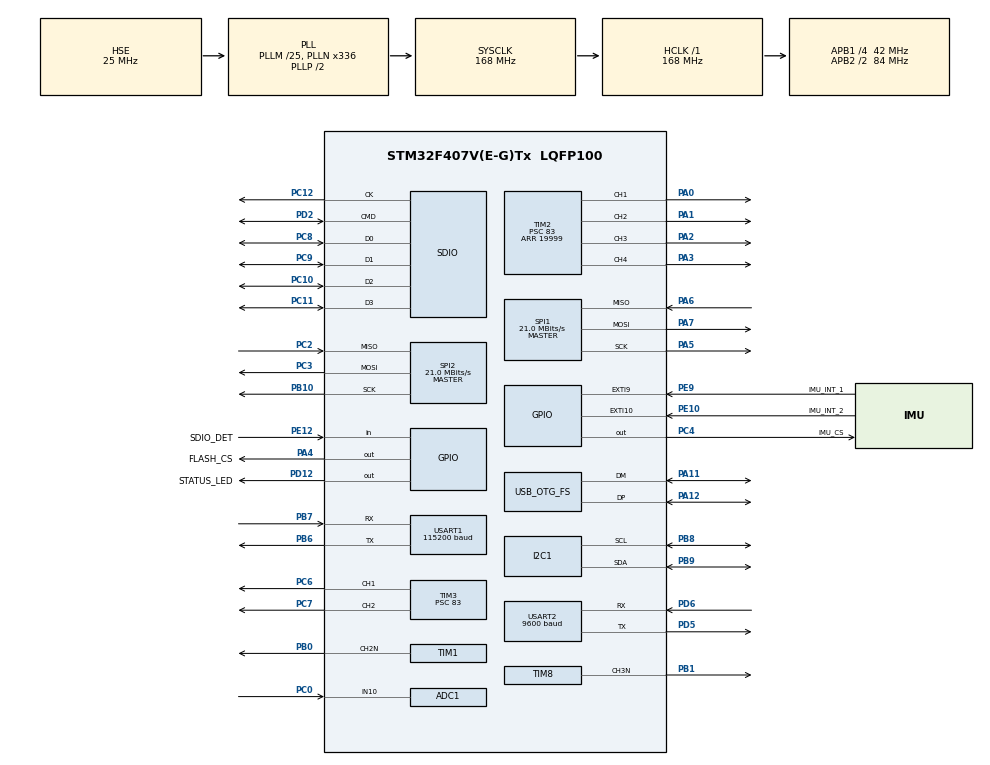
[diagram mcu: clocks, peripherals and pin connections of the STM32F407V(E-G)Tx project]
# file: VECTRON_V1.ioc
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ADC1.Channel-0\#ChannelRegularConversion=ADC_CHANNEL_10
ADC1.NbrOfConversion=1
ADC1.NbrOfConversionFlag=1
ADC1.Rank-0\#ChannelRegularConversion=1
ADC1.SamplingTime-0\#ChannelRegularConversion=ADC_SAMPLETIME_480CYCLES
ADC1.master=1
Dma.ADC1.6.Direction=DMA_PERIPH_TO_MEMORY
Dma.ADC1.6.FIFOMode=DMA_FIFOMODE_DISABLE
Dma.ADC1.6.Instance=DMA2_Stream0
Dma.ADC1.6.MemDataAlignment=DMA_MDATAALIGN_HALFWORD
Dma.ADC1.6.MemInc=DMA_MINC_ENABLE
Dma.ADC1.6.Mode=DMA_NORMAL
Dma.ADC1.6.PeriphDataAlignment=DMA_PDATAALIGN_HALFWORD
Dma.ADC1.6.PeriphInc=DMA_PINC_DISABLE
Dma.ADC1.6.Priority=DMA_PRIORITY_LOW
Dma.I2C1_RX.0.Direction=DMA_PERIPH_TO_MEMORY
Dma.I2C1_RX.0.FIFOMode=DMA_FIFOMODE_DISABLE
Dma.I2C1_RX.0.Instance=DMA1_Stream0
Dma.I2C1_RX.0.MemDataAlignment=DMA_MDATAALIGN_BYTE
Dma.I2C1_RX.0.MemInc=DMA_MINC_ENABLE
Dma.I2C1_RX.0.Mode=DMA_NORMAL
Dma.I2C1_RX.0.PeriphDataAlignment=DMA_PDATAALIGN_BYTE
Dma.I2C1_RX.0.PeriphInc=DMA_PINC_DISABLE
Dma.I2C1_RX.0.Priority=DMA_PRIORITY_LOW
Dma.I2C1_TX.1.Direction=DMA_MEMORY_TO_PERIPH
Dma.I2C1_TX.1.FIFOMode=DMA_FIFOMODE_DISABLE
Dma.I2C1_TX.1.Instance=DMA1_Stream6
Dma.I2C1_TX.1.MemDataAlignment=DMA_MDATAALIGN_BYTE
Dma.I2C1_TX.1.MemInc=DMA_MINC_ENABLE
Dma.I2C1_TX.1.Mode=DMA_NORMAL
Dma.I2C1_TX.1.PeriphDataAlignment=DMA_PDATAALIGN_BYTE
Dma.I2C1_TX.1.PeriphInc=DMA_PINC_DISABLE
Dma.I2C1_TX.1.Priority=DMA_PRIORITY_LOW
Dma.Request0=I2C1_RX
Dma.Request1=I2C1_TX
Dma.Request2=USART2_RX
Dma.Request3=SPI1_RX
Dma.Request4=SPI1_TX
Dma.Request5=TIM8_CH3
Dma.Request6=ADC1
Dma.SPI1_RX.3.Direction=DMA_PERIPH_TO_MEMORY
Dma.SPI1_RX.3.FIFOMode=DMA_FIFOMODE_DISABLE
Dma.SPI1_RX.3.Instance=DMA2_Stream2
Dma.SPI1_RX.3.MemDataAlignment=DMA_MDATAALIGN_BYTE
Dma.SPI1_RX.3.MemInc=DMA_MINC_ENABLE
Dma.SPI1_RX.3.Mode=DMA_NORMAL
Dma.SPI1_RX.3.PeriphDataAlignment=DMA_PDATAALIGN_BYTE
Dma.SPI1_RX.3.PeriphInc=DMA_PINC_DISABLE
Dma.SPI1_RX.3.Priority=DMA_PRIORITY_VERY_HIGH
Dma.SPI1_TX.4.Direction=DMA_MEMORY_TO_PERIPH
Dma.SPI1_TX.4.FIFOMode=DMA_FIFOMODE_DISABLE
Dma.SPI1_TX.4.Instance=DMA2_Stream3
Dma.SPI1_TX.4.MemDataAlignment=DMA_MDATAALIGN_BYTE
Dma.SPI1_TX.4.MemInc=DMA_MINC_ENABLE
Dma.SPI1_TX.4.Mode=DMA_NORMAL
Dma.SPI1_TX.4.PeriphDataAlignment=DMA_PDATAALIGN_BYTE
Dma.SPI1_TX.4.PeriphInc=DMA_PINC_DISABLE
Dma.SPI1_TX.4.Priority=DMA_PRIORITY_VERY_HIGH
Dma.TIM8_CH3.5.Direction=DMA_MEMORY_TO_PERIPH
Dma.TIM8_CH3.5.FIFOMode=DMA_FIFOMODE_DISABLE
Dma.TIM8_CH3.5.Instance=DMA2_Stream4
Dma.TIM8_CH3.5.MemDataAlignment=DMA_MDATAALIGN_HALFWORD
Dma.TIM8_CH3.5.MemInc=DMA_MINC_ENABLE
Dma.TIM8_CH3.5.Mode=DMA_NORMAL
Dma.TIM8_CH3.5.PeriphDataAlignment=DMA_PDATAALIGN_HALFWORD
Dma.TIM8_CH3.5.PeriphInc=DMA_PINC_DISABLE
Dma.TIM8_CH3.5.Priority=DMA_PRIORITY_LOW
Dma.USART2_RX.2.Direction=DMA_PERIPH_TO_MEMORY
Dma.USART2_RX.2.FIFOMode=DMA_FIFOMODE_DISABLE
Dma.USART2_RX.2.Instance=DMA1_Stream5
Dma.USART2_RX.2.MemDataAlignment=DMA_MDATAALIGN_BYTE
Dma.USART2_RX.2.MemInc=DMA_MINC_ENABLE
Dma.USART2_RX.2.Mode=DMA_NORMAL
Dma.USART2_RX.2.PeriphDataAlignment=DMA_PDATAALIGN_BYTE
Dma.USART2_RX.2.PeriphInc=DMA_PINC_DISABLE
Dma.USART2_RX.2.Priority=DMA_PRIORITY_LOW
FATFS.BSP.number=1
FATFS._MAX_SS=4096
FATFS._USE_LFN=3
FATFS0.BSP.STBoard=false
FATFS0.BSP.api=Unknown
FATFS0.BSP.instance=PE12
FATFS0.BSP.ip=GPIO
FATFS0.BSP.mode=Input
FATFS0.BSP.name=Detect_SDIO
FATFS0.BSP.solution=PE12
I2C1.I2C_Mode=I2C_Standard
Mcu.Family=STM32F4
Mcu.Name=STM32F407V(E-G)Tx
Mcu.Package=LQFP100
NVIC.DMA1_Stream0_IRQn=true\:0\:0\:false\:false\:true\:false\:true\:true
NVIC.DMA1_Stream5_IRQn=true\:0\:0\:false\:false\:true\:false\:true\:true
NVIC.DMA1_Stream6_IRQn=true\:0\:0\:false\:false\:true\:false\:true\:true
NVIC.DMA2_Stream0_IRQn=true\:0\:0\:false\:false\:true\:false\:true\:true
NVIC.DMA2_Stream2_IRQn=true\:0\:0\:false\:false\:true\:false\:true\:true
NVIC.DMA2_Stream3_IRQn=true\:0\:0\:false\:false\:true\:false\:true\:true
NVIC.DMA2_Stream4_IRQn=true\:0\:0\:false\:false\:true\:false\:true\:true
NVIC.EXTI9_5_IRQn=true\:0\:0\:false\:false\:true\:true\:true\:true
NVIC.OTG_FS_IRQn=true\:0\:0\:false\:false\:true\:false\:true\:true
NVIC.PriorityGroup=NVIC_PRIORITYGROUP_4
NVIC.TIM5_IRQn=true\:0\:0\:false\:false\:true\:true\:true\:true
NVIC.USART2_IRQn=true\:0\:0\:false\:false\:true\:true\:true\:true
PA0-WKUP.GPIO_Speed=GPIO_SPEED_FREQ_LOW
PA0-WKUP.Signal=S_TIM2_CH1_ETR
PA1.GPIO_Speed=GPIO_SPEED_FREQ_LOW
PA1.Signal=S_TIM2_CH2
PA11.Mode=Device_Only
PA11.Signal=USB_OTG_FS_DM
PA12.Mode=Device_Only
PA12.Signal=USB_OTG_FS_DP
PA13.Mode=Trace_Asynchronous_SW
PA13.Signal=SYS_JTMS-SWDIO
PA14.Mode=Trace_Asynchronous_SW
PA14.Signal=SYS_JTCK-SWCLK
PA2.GPIO_Speed=GPIO_SPEED_FREQ_LOW
PA2.Signal=S_TIM2_CH3
PA3.GPIO_Speed=GPIO_SPEED_FREQ_LOW
PA3.Signal=S_TIM2_CH4
PA4.GPIO_Label=FLASH_CS
PA4.Signal=GPIO_Output
PA5.Mode=Full_Duplex_Master
PA5.Signal=SPI1_SCK
PA6.Mode=Full_Duplex_Master
PA6.Signal=SPI1_MISO
PA7.Mode=Full_Duplex_Master
PA7.Signal=SPI1_MOSI
PB0.Mode=Output Compare2 CH2N
PB0.Signal=TIM1_CH2N
PB1.Mode=PWM Generation3 CH3N
PB1.Signal=TIM8_CH3N
PB10.Mode=Full_Duplex_Master
PB10.Signal=SPI2_SCK
PB3.Mode=Trace_Asynchronous_SW
PB3.Signal=SYS_JTDO-SWO
PB6.Mode=Asynchronous
PB6.Signal=USART1_TX
PB7.Mode=Asynchronous
PB7.Signal=USART1_RX
PB8.Mode=I2C
PB8.Signal=I2C1_SCL
PB9.Mode=I2C
PB9.Signal=I2C1_SDA
PC0.Signal=ADCx_IN10
PC10.Mode=SD_4_bits_Wide_bus
PC10.Signal=SDIO_D2
PC11.Mode=SD_4_bits_Wide_bus
PC11.Signal=SDIO_D3
PC12.Mode=SD_4_bits_Wide_bus
PC12.Signal=SDIO_CK
PC14-OSC32_IN.Mode=LSE-External-Oscillator
PC14-OSC32_IN.Signal=RCC_OSC32_IN
PC15-OSC32_OUT.Mode=LSE-External-Oscillator
PC15-OSC32_OUT.Signal=RCC_OSC32_OUT
PC2.Mode=Full_Duplex_Master
PC2.Signal=SPI2_MISO
PC3.Mode=Full_Duplex_Master
PC3.Signal=SPI2_MOSI
PC4.GPIO_Label=IMU_CS
PC4.Signal=GPIO_Output
PC6.Signal=S_TIM3_CH1
PC7.Signal=S_TIM3_CH2
PC8.Mode=SD_4_bits_Wide_bus
PC8.Signal=SDIO_D0
PC9.Mode=SD_4_bits_Wide_bus
PC9.Signal=SDIO_D1
PD12.GPIO_Label=STATUS_LED
PD12.Signal=GPIO_Output
PD2.Mode=SD_4_bits_Wide_bus
PD2.Signal=SDIO_CMD
PD5.Mode=Asynchronous
PD5.Signal=USART2_TX
PD6.Mode=Asynchronous
PD6.Signal=USART2_RX
PE10.GPIO_Label=IMU_INT_2
PE10.Signal=GPXTI10
PE12.GPIO_Label=SDIO_DET
PE12.Signal=GPIO_Input
PE9.GPIO_Label=IMU_INT_1
PE9.GPIO_ModeDefaultEXTI=GPIO_MODE_IT_FALLING
PE9.GPIO_PuPd=GPIO_NOPULL
PE9.Signal=GPXTI9
PH0-OSC_IN.Mode=HSE-External-Oscillator
PH0-OSC_IN.Signal=RCC_OSC_IN
PH1-OSC_OUT.Mode=HSE-External-Oscillator
PH1-OSC_OUT.Signal=RCC_OSC_OUT
ProjectManager.HeapSize=0x200
ProjectManager.StackSize=0x400
ProjectManager.TargetToolchain=STM32CubeIDE
RCC.48MHZClocksFreq_Value=48000000
RCC.AHBFreq_Value=168000000
RCC.APB1CLKDivider=RCC_HCLK_DIV4
RCC.APB1Freq_Value=42000000
RCC.APB1TimFreq_Value=84000000
RCC.APB2CLKDivider=RCC_HCLK_DIV2
RCC.APB2Freq_Value=84000000
RCC.APB2TimFreq_Value=168000000
RCC.CortexFreq_Value=168000000
RCC.HCLKFreq_Value=168000000
RCC.HSE_VALUE=25000000
RCC.HSI_VALUE=16000000
RCC.PLLM=25
RCC.PLLN=336
RCC.PLLQ=7
RCC.SYSCLKFreq_VALUE=168000000
RCC.SYSCLKSource=RCC_SYSCLKSOURCE_PLLCLK
RCC.VCOOutputFreq_Value=336000000
SDIO.ClockDiv=8
SH.ADCx_IN10.0=ADC1_IN10,IN10
SH.S_TIM2_CH1_ETR.0=TIM2_CH1,PWM Generation1 CH1
SH.S_TIM2_CH2.0=TIM2_CH2,PWM Generation2 CH2
SH.S_TIM2_CH3.0=TIM2_CH3,PWM Generation3 CH3
SH.S_TIM2_CH4.0=TIM2_CH4,PWM Generation4 CH4
SH.S_TIM3_CH1.0=TIM3_CH1,PWM Generation1 CH1
SH.S_TIM3_CH2.0=TIM3_CH2,PWM Generation2 CH2
SPI1.BaudRatePrescaler=SPI_BAUDRATEPRESCALER_4
SPI1.CalculateBaudRate=21.0 MBits/s
SPI1.Direction=SPI_DIRECTION_2LINES
SPI1.Mode=SPI_MODE_MASTER
SPI1.VirtualType=VM_MASTER
SPI2.CalculateBaudRate=21.0 MBits/s
SPI2.Direction=SPI_DIRECTION_2LINES
SPI2.Mode=SPI_MODE_MASTER
SPI2.VirtualType=VM_MASTER
TIM1.AutoReloadPreload=TIM_AUTORELOAD_PRELOAD_DISABLE
TIM1.Channel-Output\ Compare2\ CH2N=TIM_CHANNEL_2
TIM1.OC2Preload=ENABLE
TIM1.OCMode_2=TIM_OCMODE_TOGGLE
TIM1.OCNPolarity_2=TIM_OCNPOLARITY_HIGH
TIM1.Prescaler=83
TIM2.Channel-PWM\ Generation1\ CH1=TIM_CHANNEL_1
TIM2.Channel-PWM\ Generation2\ CH2=TIM_CHANNEL_2
TIM2.Channel-PWM\ Generation3\ CH3=TIM_CHANNEL_3
TIM2.Channel-PWM\ Generation4\ CH4=TIM_CHANNEL_4
TIM2.OCFastMode_PWM-PWM\ Generation3\ CH3=TIM_OCFAST_DISABLE
TIM2.Period=19999
TIM2.Prescaler=83
TIM3.Channel-PWM\ Generation1\ CH1=TIM_CHANNEL_1
TIM3.Channel-PWM\ Generation2\ CH2=TIM_CHANNEL_2
TIM3.Period=19999
TIM3.Prescaler=83
TIM5.Period=2499
TIM5.Prescaler=8399
TIM8.Channel-PWM\ Generation3\ CH3N=TIM_CHANNEL_3
TIM8.OCNPolarity_3=TIM_OCNPOLARITY_LOW
TIM8.Period=104
TIM8.Prescaler=1
USART1.BaudRate=115200
USART1.VirtualMode=VM_ASYNC
USART2.BaudRate=9600
USART2.VirtualMode=VM_ASYNC
USB_DEVICE.CLASS_NAME_FS=CDC
USB_DEVICE.VirtualMode-CDC_FS=Cdc
USB_DEVICE.VirtualModeFS=Cdc_FS
USB_OTG_FS.VirtualMode=Device_Only
VP_FATFS_VS_SDIO.Mode=SDIO
VP_TIM1_VS_ClockSourceINT.Mode=Internal
VP_TIM2_VS_ClockSourceINT.Mode=Internal
VP_TIM3_VS_ClockSourceINT.Mode=Internal
VP_TIM5_VS_ClockSourceINT.Mode=Internal
VP_TIM8_VS_ClockSourceINT.Mode=Internal
VP_USB_DEVICE_VS_USB_DEVICE_CDC_FS.Mode=CDC_FS
board=custom

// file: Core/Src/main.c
/* USER CODE BEGIN Header */
/**
 ******************************************************************************
 * @file           : main.c
 * @brief          : Main program body
 ******************************************************************************
 * @attention
 *
 * Copyright (c) 2025 STMicroelectronics.
 * All rights reserved.
 *
 * This software is licensed under terms that can be found in the LICENSE file
 * in the root directory of this software component.
 * If no LICENSE file comes with this software, it is provided AS-IS.
 *
 ******************************************************************************
 */
/* USER CODE END Header */
#include "main.h"
#include "fatfs.h"
#include "usb_device.h"

/* USER CODE BEGIN Includes */
#include "usbd_cdc_if.h"

#include <stdio.h>
#include <stdbool.h>
#include <string.h>

#include "FLIGHT.h"

#include "drivers/ISM330DHCX/ISM330DHCX.h"
#include "drivers/BMP280/BMP280.h"
#include "drivers/LIS2MDL/LIS2MDL.h"
#include "drivers/NEO6M/NEO6M.h"
#include "drivers/ADC/ADC.h"

#include "drivers/SERVO/SERVO.h"
#include "drivers/BUZZER/BUZZER.h"
#include "drivers/WS2812/WS2812.h"

#include "drivers/W25Q128JV/W25Q128JV.h"
#include "drivers/MICROSD/MICROSD.h"

#include "drivers/DEBUGGING/DEBUGGING.h"

#include "drivers/KALMAN/KALMAN.h"

/* USER CODE END Includes */

ADC_HandleTypeDef hadc1;
DMA_HandleTypeDef hdma_adc1;

I2C_HandleTypeDef hi2c1;
DMA_HandleTypeDef hdma_i2c1_rx;
DMA_HandleTypeDef hdma_i2c1_tx;

SD_HandleTypeDef hsd;

SPI_HandleTypeDef hspi1;
SPI_HandleTypeDef hspi2;
DMA_HandleTypeDef hdma_spi1_rx;
DMA_HandleTypeDef hdma_spi1_tx;

TIM_HandleTypeDef htim1;
TIM_HandleTypeDef htim2;
TIM_HandleTypeDef htim3;
TIM_HandleTypeDef htim5;
TIM_HandleTypeDef htim8;
DMA_HandleTypeDef hdma_tim8_ch3;

UART_HandleTypeDef huart1;
UART_HandleTypeDef huart2;
DMA_HandleTypeDef hdma_usart2_rx;

/* USER CODE BEGIN PV */
uint8_t estimationTimes = 0;
uint8_t estimationFlag = 0;

FlightDataHandler_t FlightData;

typedef enum
{
    STATE_READING_BMP,
    STATE_READING_LIS
} I2CSequenceState_t;

volatile I2CSequenceState_t I2CdmaState = STATE_READING_BMP;

ISM330DHCX_Handle_t ISM330DHCX_Handler;
BMP280_Handle_t BMP280_Handler;
LIS2MDL_Handle_t LIS2MDL_Handler;
NEO6M_Handle_t NEO6M_Handler;
ADC_Handle_t ADC_Handler;

Servo_Handle_t servoX1;
Servo_Handle_t servoX2;
Servo_Handle_t servoY1;
Servo_Handle_t servoY2;

Servo_Handle_t servoRecov1;
Servo_Handle_t servoRecov2;

Buzzer_Handle_t Buzzer_Handler;
WS2812_Handle_t WS2812_Handler;

W25Q128JV_Handle_t W25Q128JV_Handler;

KalmanFilterState_t g_kalman_state = {0};

char output[1024];
/* USER CODE END PV */

void SystemClock_Config(void);
static void MX_GPIO_Init(void);
static void MX_DMA_Init(void);
static void MX_ADC1_Init(void);
static void MX_I2C1_Init(void);
static void MX_TIM1_Init(void);
static void MX_TIM2_Init(void);
static void MX_TIM3_Init(void);
static void MX_TIM5_Init(void);
static void MX_USART1_UART_Init(void);
static void MX_USART2_UART_Init(void);
static void MX_SDIO_SD_Init(void);
static void MX_SPI1_Init(void);
static void MX_SPI2_Init(void);
static void MX_TIM8_Init(void);

/* USER CODE BEGIN 0 */

HAL_StatusTypeDef flightComputerInit(FlightDataHandler_t *flight)
{
    // Initialize sensors
    ISM330DHCXInit(&ISM330DHCX_Handler);
    BMP280Init(&BMP280_Handler);
    LIS2MDLInit(&LIS2MDL_Handler);
    NEO6MInit(&NEO6M_Handler);
    ADCInit(&ADC_Handler);
    // Start timer for timestamp
    HAL_TIM_Base_Start_IT(&htim5);

    // Initialize servos
    Servo_Init_LUT();
    ServoInit(&servoX1);
    ServoInit(&servoX2);
    ServoInit(&servoY1);
    ServoInit(&servoY2);
    ServoInit(&servoRecov1);
    ServoInit(&servoRecov2);

    // Initialize other peripherals
    BuzzerInit(&Buzzer_Handler);
    WS2812_Init(&WS2812_Handler);

    //  Initialize data storage elements
    W25Q128JVInit(&W25Q128JV_Handler);
//    W25Q128JVCleanSlate(&W25Q128JV_Handler);

    // Initial sensor readings
    NEO6MReadRaw(&NEO6M_Handler);
    BMP280ReadRaw(&BMP280_Handler);
    ISM330DHCXReadRaw(&ISM330DHCX_Handler);

    // Initialize flight data structure
    flight->start_byte = 0xAA; // Example start byte
    flight->packet_count = 0;
    flight->system_state = 0;
    flight->flight_state = 0;
    flight->error_flags = 0;

    return HAL_OK;
}

HAL_StatusTypeDef flightComputerCopySensors(FlightDataHandler_t *flight)
{
    // Copy timestamp
    flight->timestamp_ms = HAL_GetTick();

    // Copy IMU data (accelerometer)
    flight->accel_x = ISM330DHCX_Handler.accel_g_x;
    flight->accel_y = ISM330DHCX_Handler.accel_g_y;
    flight->accel_z = ISM330DHCX_Handler.accel_g_z;

    // Copy IMU data (gyroscope)
    flight->gyro_x = ISM330DHCX_Handler.gyro_dps_x;
    flight->gyro_y = ISM330DHCX_Handler.gyro_dps_y;
    flight->gyro_z = ISM330DHCX_Handler.gyro_dps_z;

    // Copy IMU temperature
    flight->temp_imu = ISM330DHCX_Handler.temperature;

    // Copy barometer data
    flight->pressure = BMP280_Handler.pressure;
    flight->altitude = BMP280_Handler.altitude;
    flight->temp_baro = BMP280_Handler.temperature;

    // Copy magnetometer/attitude data
    flight->roll = LIS2MDL_Handler.mag_x;
    flight->pitch = LIS2MDL_Handler.mag_y;
    flight->yaw = LIS2MDL_Handler.mag_z;

    // Copy GPS data
    flight->gps_sats = NEO6M_Handler.SatellitesUsed;
    flight->gps_lat = NEO6M_Handler.Latitude;
    flight->gps_lon = NEO6M_Handler.Longitude;
    flight->gps_alt = NEO6M_Handler.Altitude;

    // Copy ADC voltage
    flight->battery_voltage = ADC_Handler.voltage;

    // Copy servo positions
    flight->servoAngleX1 = servoX1.angle;
    flight->servoAngleX2 = servoX2.angle;
    flight->servoAngleY1 = servoY1.angle;
    flight->servoAngleY2 = servoY2.angle;
    flight->servoRecov1 = servoRecov1.angle;
    flight->servoRecov2 = servoRecov2.angle;

    // Increment packet counter
    flight->packet_count++;

    return HAL_OK;
}

HAL_StatusTypeDef flightComputerEstimation(FlightDataHandler_t *flight)
{
    // Initialize Kalman filters on first call
    static bool first_call = true;
    if (first_call)
    {
        Kalman_Init(&g_kalman_state);
        first_call = false;
    }

    // Update altitude and velocity estimation
    Kalman_UpdateAltitude(&g_kalman_state.altitude_filter,
                          flight->altitude,
                          flight->gps_alt,
                          flight->gps_sats,
                          flight->accel_z,
                          flight->timestamp_ms);

    // Update attitude estimation
    Kalman_UpdateAttitude(&g_kalman_state.attitude_filter,
                          flight->roll,
                          flight->pitch,
                          flight->yaw,
                          flight->gyro_x,
                          flight->gyro_y,
                          flight->gyro_z,
                          flight->timestamp_ms);

    // Update temperature estimation
    flight->est_temperature = Kalman_UpdateTemperature(&g_kalman_state.temp_filter,
                                                       flight->temp_imu,
                                                       flight->temp_baro);

    // Copy estimated values to flight data structure
    flight->est_altitude = g_kalman_state.altitude_filter.state[0];
    flight->est_velocity_z = g_kalman_state.altitude_filter.state[1];
    flight->est_roll = g_kalman_state.attitude_filter.state[0];
    flight->est_pitch = g_kalman_state.attitude_filter.state[1];
    flight->est_yaw = g_kalman_state.attitude_filter.state[2];

    return HAL_OK;
}

/* USER CODE END 0 */

int main(void)
{

    /* USER CODE BEGIN 1 */
    ISM330DHCX_Handler.hspi = &hspi1;
    ISM330DHCX_Handler.CSPort = IMU_CS_GPIO_Port;
    ISM330DHCX_Handler.CSPin = IMU_CS_Pin;

    BMP280_Handler.hi2c = &hi2c1;
    BMP280_Handler.address = 0x76;

    LIS2MDL_Handler.hi2c = &hi2c1;

    NEO6M_Handler.huart = &huart2;

    ADC_Handler.hadc = &hadc1;

    servoX1.htim = &htim2;
    servoX1.TIM_CHANNEL = TIM_CHANNEL_1;
    servoX2.htim = &htim2;
    servoX2.TIM_CHANNEL = TIM_CHANNEL_2;
    servoY1.htim = &htim2;
    servoY1.TIM_CHANNEL = TIM_CHANNEL_3;
    servoY2.htim = &htim2;
    servoY2.TIM_CHANNEL = TIM_CHANNEL_4;

    servoRecov1.htim = &htim3;
    servoRecov1.TIM_CHANNEL = TIM_CHANNEL_1;
    servoRecov2.htim = &htim3;
    servoRecov2.TIM_CHANNEL = TIM_CHANNEL_2;

    Buzzer_Handler.htim = &htim1;
    Buzzer_Handler.TIM_CHANNEL = TIM_CHANNEL_2;

    WS2812_Handler.htim = &htim8;
    WS2812_Handler.TIM_CHANNEL = TIM_CHANNEL_3;
    WS2812_Handler.brightness = 255;

    W25Q128JV_Handler.hspi = &hspi2;
    W25Q128JV_Handler.CsPort = FLASH_CS_GPIO_Port;
    W25Q128JV_Handler.CsPin = FLASH_CS_Pin;
    W25Q128JV_Handler.currentOffset = 0;

    /* USER CODE END 1 */

    /* MCU Configuration--------------------------------------------------------*/

    /* Reset of all peripherals, Initializes the Flash interface and the Systick. */
    HAL_Init();

    /* Configure the system clock */
    SystemClock_Config();

    /* Initialize all configured peripherals */
    MX_GPIO_Init();
    MX_DMA_Init();
    MX_ADC1_Init();
    MX_I2C1_Init();
    MX_TIM1_Init();
    MX_TIM2_Init();
    MX_TIM3_Init();
    MX_TIM5_Init();
    MX_USART1_UART_Init();
    MX_USART2_UART_Init();
    MX_SDIO_SD_Init();
    MX_SPI1_Init();
    MX_SPI2_Init();
    MX_FATFS_Init();
    MX_USB_DEVICE_Init();
    MX_TIM8_Init();
    /* USER CODE BEGIN 2 */

    ///////////////////////////////////////////////////////////////////
    // Init function
    flightComputerInit(&FlightData);

    BuzzerPlayNote(&Buzzer_Handler, NOTE_G5);
    HAL_Delay(100);
    BuzzerPlayNote(&Buzzer_Handler, NOTE_B5);
    HAL_Delay(100);
    BuzzerPlayNote(&Buzzer_Handler, NOTE_D6);
    HAL_Delay(100);
    BuzzerPlayNote(&Buzzer_Handler, NOTE_G6);
    HAL_Delay(100);
    BuzzerPlayNote(&Buzzer_Handler, NOTE_B6);
    HAL_Delay(100);
    BuzzerPlayNote(&Buzzer_Handler, NOTE_DS7);
    HAL_Delay(80);
    BuzzerPlayNote(&Buzzer_Handler, NOTE_E7);
    HAL_Delay(400);
    BuzzerPlayNote(&Buzzer_Handler, NOTE_REST);

    /* USER CODE END 2 */

    /* Infinite loop */
    /* USER CODE BEGIN WHILE */
    while (1)
    {
        if (estimationFlag)
        {

            snprintf(output, sizeof(output),
                     "--- Packet: %lu ---\n"
                     "Time: %lu ms | Sys: %u | Flight: %u | Err: 0x%02X\n"
                     "IMU Acc: [%.2f, %.2f, %.2f]\n"
                     "IMU Gyr: [%.2f, %.2f, %.2f]\n"
                     "IMU Temp: %.2f\n"
                     "Baro: P:%.2f Alt:%.2f T:%.2f\n"
                     "Mag (RPY): %.2f, %.2f, %.2f\n"
                     "GPS: Sats:%u Lat:%.7f Lon:%.7f Alt:%.2f\n"
                     "KF Est: Alt:%.2f Vel:%.2f RPY:[%.2f, %.2f, %.2f] T:%.2f\n"
                     "Batt: %.2f V\n"
                     "Servos: X[%u, %u] Y[%u, %u] Rec[%u, %u]\n\n",

                     // Header
                     FlightData.packet_count,
                     FlightData.timestamp_ms,
                     FlightData.system_state,
                     FlightData.flight_state,
                     FlightData.error_flags,

                     // IMU
                     FlightData.accel_x, FlightData.accel_y, FlightData.accel_z,
                     FlightData.gyro_x, FlightData.gyro_y, FlightData.gyro_z,
                     FlightData.temp_imu,

                     // Barometer
                     FlightData.pressure,
                     FlightData.altitude,
                     FlightData.temp_baro,

                     // Magnetometer / Orientation
                     FlightData.roll, FlightData.pitch, FlightData.yaw,

                     // GPS (Notice %.7f for Lat/Lon)
                     FlightData.gps_sats,
                     FlightData.gps_lat,
                     FlightData.gps_lon,
                     FlightData.gps_alt,

                     // Kalman Filter Estimates
                     FlightData.est_altitude,
                     FlightData.est_velocity_z,
                     FlightData.est_roll, FlightData.est_pitch, FlightData.est_yaw,
                     FlightData.est_temperature,

                     // Battery
                     FlightData.battery_voltage,

                     // Servos
                     FlightData.servoAngleX1, FlightData.servoAngleX2,
                     FlightData.servoAngleY1, FlightData.servoAngleY2,
                     FlightData.servoRecov1, FlightData.servoRecov2);

            debugging(output);
            ///////////////////////////////////////////////////////////////////
            //    copying function of flight data form various sensors
            flightComputerCopySensors(&FlightData);

            ///////////////////////////////////////////////////////////////////
            //    estimation function
            flightComputerEstimation(&FlightData);

            switch (FlightData.flight_state)
            {
            case STATE_GROUND_IDLE:
                if (1) //////////////////////////////////////  LOGIC
                {
                    FlightData.flight_state = STATE_POWERED_FLIGHT;
                    break;
                }

                break;
            ///////////////////////////////////////////////////////////////////////////////////////////////
            case STATE_POWERED_FLIGHT:
                if (1) //////////////////////////////////////  LOGIC
                {
                    FlightData.flight_state = STATE_UNPOWERED_FLIGHT;
                    break;
                }

                break;

            ///////////////////////////////////////////////////////////////////////////////////////////////
            case STATE_UNPOWERED_FLIGHT:
                if (1) //////////////////////////////////////  LOGIC
                {
                    FlightData.flight_state = STATE_BALLISTIC_DESCENT;
                    break;
                }
                break;

            ///////////////////////////////////////////////////////////////////////////////////////////////
            case STATE_BALLISTIC_DESCENT:
                if (1) //////////////////////////////////////  LOGIC
                {
                    FlightData.flight_state = STATE_CHUTE_DESCENT;
                    break;
                }
                break;
            ///////////////////////////////////////////////////////////////////////////////////////////////
            case STATE_CHUTE_DESCENT:
                if (1) //////////////////////////////////////  LOGIC
                {
                    FlightData.flight_state = STATE_LANDING_SAFE;
                    break;
                }

                break;
            ///////////////////////////////////////////////////////////////////////////////////////////////
            case STATE_LANDING_SAFE:

                break;
            }

            estimationTimes++;
            W25Q128JVWritePage(&W25Q128JV_Handler, &FlightData);
            if (estimationTimes == 2)
            {
                estimationTimes = 0;
            }

            estimationFlag = 0;
        }
        /* USER CODE END WHILE */

    }
}

void SystemClock_Config(void)
{
    RCC_OscInitTypeDef RCC_OscInitStruct = {0};
    RCC_ClkInitTypeDef RCC_ClkInitStruct = {0};

    /** Configure the main internal regulator output voltage
     */
    __HAL_RCC_PWR_CLK_ENABLE();
    __HAL_PWR_VOLTAGESCALING_CONFIG(PWR_REGULATOR_VOLTAGE_SCALE1);

    /** Initializes the RCC Oscillators according to the specified parameters
     * in the RCC_OscInitTypeDef structure.
     */
    RCC_OscInitStruct.OscillatorType = RCC_OSCILLATORTYPE_HSE;
    RCC_OscInitStruct.HSEState = RCC_HSE_ON;
    RCC_OscInitStruct.PLL.PLLState = RCC_PLL_ON;
    RCC_OscInitStruct.PLL.PLLSource = RCC_PLLSOURCE_HSE;
    RCC_OscInitStruct.PLL.PLLM = 25;
    RCC_OscInitStruct.PLL.PLLN = 336;
    RCC_OscInitStruct.PLL.PLLP = RCC_PLLP_DIV2;
    RCC_OscInitStruct.PLL.PLLQ = 7;
    if (HAL_RCC_OscConfig(&RCC_OscInitStruct) != HAL_OK)
    {
        Error_Handler();
    }

    /** Initializes the CPU, AHB and APB buses clocks
     */
    RCC_ClkInitStruct.ClockType = RCC_CLOCKTYPE_HCLK | RCC_CLOCKTYPE_SYSCLK | RCC_CLOCKTYPE_PCLK1 | RCC_CLOCKTYPE_PCLK2;
    RCC_ClkInitStruct.SYSCLKSource = RCC_SYSCLKSOURCE_PLLCLK;
    RCC_ClkInitStruct.AHBCLKDivider = RCC_SYSCLK_DIV1;
    RCC_ClkInitStruct.APB1CLKDivider = RCC_HCLK_DIV4;
    RCC_ClkInitStruct.APB2CLKDivider = RCC_HCLK_DIV2;

    if (HAL_RCC_ClockConfig(&RCC_ClkInitStruct, FLASH_LATENCY_5) != HAL_OK)
    {
        Error_Handler();
    }
}

static void MX_ADC1_Init(void)
{

    ADC_ChannelConfTypeDef sConfig = {0};

    /** Configure the global features of the ADC (Clock, Resolution, Data Alignment and number of conversion)
     */
    hadc1.Instance = ADC1;
    hadc1.Init.ClockPrescaler = ADC_CLOCK_SYNC_PCLK_DIV4;
    hadc1.Init.Resolution = ADC_RESOLUTION_12B;
    hadc1.Init.ScanConvMode = DISABLE;
    hadc1.Init.ContinuousConvMode = DISABLE;
    hadc1.Init.DiscontinuousConvMode = DISABLE;
    hadc1.Init.ExternalTrigConvEdge = ADC_EXTERNALTRIGCONVEDGE_NONE;
    hadc1.Init.ExternalTrigConv = ADC_SOFTWARE_START;
    hadc1.Init.DataAlign = ADC_DATAALIGN_RIGHT;
    hadc1.Init.NbrOfConversion = 1;
    hadc1.Init.DMAContinuousRequests = DISABLE;
    hadc1.Init.EOCSelection = ADC_EOC_SINGLE_CONV;
    if (HAL_ADC_Init(&hadc1) != HAL_OK)
    {
        Error_Handler();
    }

    /** Configure for the selected ADC regular channel its corresponding rank in the sequencer and its sample time.
     */
    sConfig.Channel = ADC_CHANNEL_10;
    sConfig.Rank = 1;
    sConfig.SamplingTime = ADC_SAMPLETIME_480CYCLES;
    if (HAL_ADC_ConfigChannel(&hadc1, &sConfig) != HAL_OK)
    {
        Error_Handler();
    }
}

static void MX_I2C1_Init(void)
{

    hi2c1.Instance = I2C1;
    hi2c1.Init.ClockSpeed = 100000;
    hi2c1.Init.DutyCycle = I2C_DUTYCYCLE_2;
    hi2c1.Init.OwnAddress1 = 0;
    hi2c1.Init.AddressingMode = I2C_ADDRESSINGMODE_7BIT;
    hi2c1.Init.DualAddressMode = I2C_DUALADDRESS_DISABLE;
    hi2c1.Init.OwnAddress2 = 0;
    hi2c1.Init.GeneralCallMode = I2C_GENERALCALL_DISABLE;
    hi2c1.Init.NoStretchMode = I2C_NOSTRETCH_DISABLE;
    if (HAL_I2C_Init(&hi2c1) != HAL_OK)
    {
        Error_Handler();
    }
}

static void MX_SDIO_SD_Init(void)
{

    hsd.Instance = SDIO;
    hsd.Init.ClockEdge = SDIO_CLOCK_EDGE_RISING;
    hsd.Init.ClockBypass = SDIO_CLOCK_BYPASS_DISABLE;
    hsd.Init.ClockPowerSave = SDIO_CLOCK_POWER_SAVE_DISABLE;
    hsd.Init.BusWide = SDIO_BUS_WIDE_1B;
    hsd.Init.HardwareFlowControl = SDIO_HARDWARE_FLOW_CONTROL_DISABLE;
    hsd.Init.ClockDiv = 8;
}

static void MX_SPI1_Init(void)
{

    /* SPI1 parameter configuration*/
    hspi1.Instance = SPI1;
    hspi1.Init.Mode = SPI_MODE_MASTER;
    hspi1.Init.Direction = SPI_DIRECTION_2LINES;
    hspi1.Init.DataSize = SPI_DATASIZE_8BIT;
    hspi1.Init.CLKPolarity = SPI_POLARITY_LOW;
    hspi1.Init.CLKPhase = SPI_PHASE_1EDGE;
    hspi1.Init.NSS = SPI_NSS_SOFT;
    hspi1.Init.BaudRatePrescaler = SPI_BAUDRATEPRESCALER_4;
    hspi1.Init.FirstBit = SPI_FIRSTBIT_MSB;
    hspi1.Init.TIMode = SPI_TIMODE_DISABLE;
    hspi1.Init.CRCCalculation = SPI_CRCCALCULATION_DISABLE;
    hspi1.Init.CRCPolynomial = 10;
    if (HAL_SPI_Init(&hspi1) != HAL_OK)
    {
        Error_Handler();
    }
}

static void MX_SPI2_Init(void)
{

    /* SPI2 parameter configuration*/
    hspi2.Instance = SPI2;
    hspi2.Init.Mode = SPI_MODE_MASTER;
    hspi2.Init.Direction = SPI_DIRECTION_2LINES;
    hspi2.Init.DataSize = SPI_DATASIZE_8BIT;
    hspi2.Init.CLKPolarity = SPI_POLARITY_LOW;
    hspi2.Init.CLKPhase = SPI_PHASE_1EDGE;
    hspi2.Init.NSS = SPI_NSS_SOFT;
    hspi2.Init.BaudRatePrescaler = SPI_BAUDRATEPRESCALER_2;
    hspi2.Init.FirstBit = SPI_FIRSTBIT_MSB;
    hspi2.Init.TIMode = SPI_TIMODE_DISABLE;
    hspi2.Init.CRCCalculation = SPI_CRCCALCULATION_DISABLE;
    hspi2.Init.CRCPolynomial = 10;
    if (HAL_SPI_Init(&hspi2) != HAL_OK)
    {
        Error_Handler();
    }
}

static void MX_TIM1_Init(void)
{

    TIM_ClockConfigTypeDef sClockSourceConfig = {0};
    TIM_MasterConfigTypeDef sMasterConfig = {0};
    TIM_OC_InitTypeDef sConfigOC = {0};
    TIM_BreakDeadTimeConfigTypeDef sBreakDeadTimeConfig = {0};

    htim1.Instance = TIM1;
    htim1.Init.Prescaler = 83;
    htim1.Init.CounterMode = TIM_COUNTERMODE_UP;
    htim1.Init.Period = 65535;
    htim1.Init.ClockDivision = TIM_CLOCKDIVISION_DIV1;
    htim1.Init.RepetitionCounter = 0;
    htim1.Init.AutoReloadPreload = TIM_AUTORELOAD_PRELOAD_DISABLE;
    if (HAL_TIM_Base_Init(&htim1) != HAL_OK)
    {
        Error_Handler();
    }
    sClockSourceConfig.ClockSource = TIM_CLOCKSOURCE_INTERNAL;
    if (HAL_TIM_ConfigClockSource(&htim1, &sClockSourceConfig) != HAL_OK)
    {
        Error_Handler();
    }
    if (HAL_TIM_OC_Init(&htim1) != HAL_OK)
    {
        Error_Handler();
    }
    sMasterConfig.MasterOutputTrigger = TIM_TRGO_RESET;
    sMasterConfig.MasterSlaveMode = TIM_MASTERSLAVEMODE_DISABLE;
    if (HAL_TIMEx_MasterConfigSynchronization(&htim1, &sMasterConfig) != HAL_OK)
    {
        Error_Handler();
    }
    sConfigOC.OCMode = TIM_OCMODE_TOGGLE;
    sConfigOC.Pulse = 0;
    sConfigOC.OCPolarity = TIM_OCPOLARITY_HIGH;
    sConfigOC.OCNPolarity = TIM_OCNPOLARITY_HIGH;
    sConfigOC.OCFastMode = TIM_OCFAST_DISABLE;
    sConfigOC.OCIdleState = TIM_OCIDLESTATE_RESET;
    sConfigOC.OCNIdleState = TIM_OCNIDLESTATE_RESET;
    if (HAL_TIM_OC_ConfigChannel(&htim1, &sConfigOC, TIM_CHANNEL_2) != HAL_OK)
    {
        Error_Handler();
    }
    __HAL_TIM_ENABLE_OCxPRELOAD(&htim1, TIM_CHANNEL_2);
    sBreakDeadTimeConfig.OffStateRunMode = TIM_OSSR_DISABLE;
    sBreakDeadTimeConfig.OffStateIDLEMode = TIM_OSSI_DISABLE;
    sBreakDeadTimeConfig.LockLevel = TIM_LOCKLEVEL_OFF;
    sBreakDeadTimeConfig.DeadTime = 0;
    sBreakDeadTimeConfig.BreakState = TIM_BREAK_DISABLE;
    sBreakDeadTimeConfig.BreakPolarity = TIM_BREAKPOLARITY_HIGH;
    sBreakDeadTimeConfig.AutomaticOutput = TIM_AUTOMATICOUTPUT_DISABLE;
    if (HAL_TIMEx_ConfigBreakDeadTime(&htim1, &sBreakDeadTimeConfig) != HAL_OK)
    {
        Error_Handler();
    }
    HAL_TIM_MspPostInit(&htim1);
}

static void MX_TIM2_Init(void)
{

    TIM_ClockConfigTypeDef sClockSourceConfig = {0};
    TIM_MasterConfigTypeDef sMasterConfig = {0};
    TIM_OC_InitTypeDef sConfigOC = {0};

    htim2.Instance = TIM2;
    htim2.Init.Prescaler = 83;
    htim2.Init.CounterMode = TIM_COUNTERMODE_UP;
    htim2.Init.Period = 19999;
    htim2.Init.ClockDivision = TIM_CLOCKDIVISION_DIV1;
    htim2.Init.AutoReloadPreload = TIM_AUTORELOAD_PRELOAD_DISABLE;
    if (HAL_TIM_Base_Init(&htim2) != HAL_OK)
    {
        Error_Handler();
    }
    sClockSourceConfig.ClockSource = TIM_CLOCKSOURCE_INTERNAL;
    if (HAL_TIM_ConfigClockSource(&htim2, &sClockSourceConfig) != HAL_OK)
    {
        Error_Handler();
    }
    if (HAL_TIM_PWM_Init(&htim2) != HAL_OK)
    {
        Error_Handler();
    }
    sMasterConfig.MasterOutputTrigger = TIM_TRGO_RESET;
    sMasterConfig.MasterSlaveMode = TIM_MASTERSLAVEMODE_DISABLE;
    if (HAL_TIMEx_MasterConfigSynchronization(&htim2, &sMasterConfig) != HAL_OK)
    {
        Error_Handler();
    }
    sConfigOC.OCMode = TIM_OCMODE_PWM1;
    sConfigOC.Pulse = 0;
    sConfigOC.OCPolarity = TIM_OCPOLARITY_HIGH;
    sConfigOC.OCFastMode = TIM_OCFAST_DISABLE;
    if (HAL_TIM_PWM_ConfigChannel(&htim2, &sConfigOC, TIM_CHANNEL_1) != HAL_OK)
    {
        Error_Handler();
    }
    if (HAL_TIM_PWM_ConfigChannel(&htim2, &sConfigOC, TIM_CHANNEL_2) != HAL_OK)
    {
        Error_Handler();
    }
    if (HAL_TIM_PWM_ConfigChannel(&htim2, &sConfigOC, TIM_CHANNEL_3) != HAL_OK)
    {
        Error_Handler();
    }
    if (HAL_TIM_PWM_ConfigChannel(&htim2, &sConfigOC, TIM_CHANNEL_4) != HAL_OK)
    {
        Error_Handler();
    }
    HAL_TIM_MspPostInit(&htim2);
}

static void MX_TIM3_Init(void)
{

    TIM_ClockConfigTypeDef sClockSourceConfig = {0};
    TIM_MasterConfigTypeDef sMasterConfig = {0};
    TIM_OC_InitTypeDef sConfigOC = {0};

    htim3.Instance = TIM3;
    htim3.Init.Prescaler = 83;
    htim3.Init.CounterMode = TIM_COUNTERMODE_UP;
    htim3.Init.Period = 19999;
    htim3.Init.ClockDivision = TIM_CLOCKDIVISION_DIV1;
    htim3.Init.AutoReloadPreload = TIM_AUTORELOAD_PRELOAD_DISABLE;
    if (HAL_TIM_Base_Init(&htim3) != HAL_OK)
    {
        Error_Handler();
    }
    sClockSourceConfig.ClockSource = TIM_CLOCKSOURCE_INTERNAL;
    if (HAL_TIM_ConfigClockSource(&htim3, &sClockSourceConfig) != HAL_OK)
    {
        Error_Handler();
    }
    if (HAL_TIM_PWM_Init(&htim3) != HAL_OK)
    {
        Error_Handler();
    }
    sMasterConfig.MasterOutputTrigger = TIM_TRGO_RESET;
    sMasterConfig.MasterSlaveMode = TIM_MASTERSLAVEMODE_DISABLE;
    if (HAL_TIMEx_MasterConfigSynchronization(&htim3, &sMasterConfig) != HAL_OK)
    {
        Error_Handler();
    }
    sConfigOC.OCMode = TIM_OCMODE_PWM1;
    sConfigOC.Pulse = 0;
    sConfigOC.OCPolarity = TIM_OCPOLARITY_HIGH;
    sConfigOC.OCFastMode = TIM_OCFAST_DISABLE;
    if (HAL_TIM_PWM_ConfigChannel(&htim3, &sConfigOC, TIM_CHANNEL_1) != HAL_OK)
    {
        Error_Handler();
    }
    if (HAL_TIM_PWM_ConfigChannel(&htim3, &sConfigOC, TIM_CHANNEL_2) != HAL_OK)
    {
        Error_Handler();
    }
    HAL_TIM_MspPostInit(&htim3);
}

static void MX_TIM5_Init(void)
{

    TIM_ClockConfigTypeDef sClockSourceConfig = {0};
    TIM_MasterConfigTypeDef sMasterConfig = {0};

    htim5.Instance = TIM5;
    htim5.Init.Prescaler = 8399;
    htim5.Init.CounterMode = TIM_COUNTERMODE_UP;
    htim5.Init.Period = 2499;
    htim5.Init.ClockDivision = TIM_CLOCKDIVISION_DIV1;
    htim5.Init.AutoReloadPreload = TIM_AUTORELOAD_PRELOAD_DISABLE;
    if (HAL_TIM_Base_Init(&htim5) != HAL_OK)
    {
        Error_Handler();
    }
    sClockSourceConfig.ClockSource = TIM_CLOCKSOURCE_INTERNAL;
    if (HAL_TIM_ConfigClockSource(&htim5, &sClockSourceConfig) != HAL_OK)
    {
        Error_Handler();
    }
    sMasterConfig.MasterOutputTrigger = TIM_TRGO_RESET;
    sMasterConfig.MasterSlaveMode = TIM_MASTERSLAVEMODE_DISABLE;
    if (HAL_TIMEx_MasterConfigSynchronization(&htim5, &sMasterConfig) != HAL_OK)
    {
        Error_Handler();
    }
}

static void MX_TIM8_Init(void)
{

    TIM_ClockConfigTypeDef sClockSourceConfig = {0};
    TIM_MasterConfigTypeDef sMasterConfig = {0};
    TIM_OC_InitTypeDef sConfigOC = {0};
    TIM_BreakDeadTimeConfigTypeDef sBreakDeadTimeConfig = {0};

    htim8.Instance = TIM8;
    htim8.Init.Prescaler = 1;
    htim8.Init.CounterMode = TIM_COUNTERMODE_UP;
    htim8.Init.Period = 104;
    htim8.Init.ClockDivision = TIM_CLOCKDIVISION_DIV1;
    htim8.Init.RepetitionCounter = 0;
    htim8.Init.AutoReloadPreload = TIM_AUTORELOAD_PRELOAD_DISABLE;
    if (HAL_TIM_Base_Init(&htim8) != HAL_OK)
    {
        Error_Handler();
    }
    sClockSourceConfig.ClockSource = TIM_CLOCKSOURCE_INTERNAL;
    if (HAL_TIM_ConfigClockSource(&htim8, &sClockSourceConfig) != HAL_OK)
    {
        Error_Handler();
    }
    if (HAL_TIM_PWM_Init(&htim8) != HAL_OK)
    {
        Error_Handler();
    }
    sMasterConfig.MasterOutputTrigger = TIM_TRGO_RESET;
    sMasterConfig.MasterSlaveMode = TIM_MASTERSLAVEMODE_DISABLE;
    if (HAL_TIMEx_MasterConfigSynchronization(&htim8, &sMasterConfig) != HAL_OK)
    {
        Error_Handler();
    }
    sConfigOC.OCMode = TIM_OCMODE_PWM1;
    sConfigOC.Pulse = 0;
    sConfigOC.OCPolarity = TIM_OCPOLARITY_HIGH;
    sConfigOC.OCNPolarity = TIM_OCNPOLARITY_LOW;
    sConfigOC.OCFastMode = TIM_OCFAST_DISABLE;
    sConfigOC.OCIdleState = TIM_OCIDLESTATE_RESET;
    sConfigOC.OCNIdleState = TIM_OCNIDLESTATE_RESET;
    if (HAL_TIM_PWM_ConfigChannel(&htim8, &sConfigOC, TIM_CHANNEL_3) != HAL_OK)
    {
        Error_Handler();
    }
    sBreakDeadTimeConfig.OffStateRunMode = TIM_OSSR_DISABLE;
    sBreakDeadTimeConfig.OffStateIDLEMode = TIM_OSSI_DISABLE;
    sBreakDeadTimeConfig.LockLevel = TIM_LOCKLEVEL_OFF;
    sBreakDeadTimeConfig.DeadTime = 0;
    sBreakDeadTimeConfig.BreakState = TIM_BREAK_DISABLE;
    sBreakDeadTimeConfig.BreakPolarity = TIM_BREAKPOLARITY_HIGH;
    sBreakDeadTimeConfig.AutomaticOutput = TIM_AUTOMATICOUTPUT_DISABLE;
    if (HAL_TIMEx_ConfigBreakDeadTime(&htim8, &sBreakDeadTimeConfig) != HAL_OK)
    {
        Error_Handler();
    }
    HAL_TIM_MspPostInit(&htim8);
}

static void MX_USART1_UART_Init(void)
{

    huart1.Instance = USART1;
    huart1.Init.BaudRate = 115200;
    huart1.Init.WordLength = UART_WORDLENGTH_8B;
    huart1.Init.StopBits = UART_STOPBITS_1;
    huart1.Init.Parity = UART_PARITY_NONE;
    huart1.Init.Mode = UART_MODE_TX_RX;
    huart1.Init.HwFlowCtl = UART_HWCONTROL_NONE;
    huart1.Init.OverSampling = UART_OVERSAMPLING_16;
    if (HAL_UART_Init(&huart1) != HAL_OK)
    {
        Error_Handler();
    }
}

static void MX_USART2_UART_Init(void)
{

    huart2.Instance = USART2;
    huart2.Init.BaudRate = 9600;
    huart2.Init.WordLength = UART_WORDLENGTH_8B;
    huart2.Init.StopBits = UART_STOPBITS_1;
    huart2.Init.Parity = UART_PARITY_NONE;
    huart2.Init.Mode = UART_MODE_TX_RX;
    huart2.Init.HwFlowCtl = UART_HWCONTROL_NONE;
    huart2.Init.OverSampling = UART_OVERSAMPLING_16;
    if (HAL_UART_Init(&huart2) != HAL_OK)
    {
        Error_Handler();
    }
}

static void MX_DMA_Init(void)
{

    /* DMA controller clock enable */
    __HAL_RCC_DMA1_CLK_ENABLE();
    __HAL_RCC_DMA2_CLK_ENABLE();

    /* DMA interrupt init */
    /* DMA1_Stream0_IRQn interrupt configuration */
    HAL_NVIC_SetPriority(DMA1_Stream0_IRQn, 0, 0);
    HAL_NVIC_EnableIRQ(DMA1_Stream0_IRQn);
    /* DMA1_Stream5_IRQn interrupt configuration */
    HAL_NVIC_SetPriority(DMA1_Stream5_IRQn, 0, 0);
    HAL_NVIC_EnableIRQ(DMA1_Stream5_IRQn);
    /* DMA1_Stream6_IRQn interrupt configuration */
    HAL_NVIC_SetPriority(DMA1_Stream6_IRQn, 0, 0);
    HAL_NVIC_EnableIRQ(DMA1_Stream6_IRQn);
    /* DMA2_Stream0_IRQn interrupt configuration */
    HAL_NVIC_SetPriority(DMA2_Stream0_IRQn, 0, 0);
    HAL_NVIC_EnableIRQ(DMA2_Stream0_IRQn);
    /* DMA2_Stream2_IRQn interrupt configuration */
    HAL_NVIC_SetPriority(DMA2_Stream2_IRQn, 0, 0);
    HAL_NVIC_EnableIRQ(DMA2_Stream2_IRQn);
    /* DMA2_Stream3_IRQn interrupt configuration */
    HAL_NVIC_SetPriority(DMA2_Stream3_IRQn, 0, 0);
    HAL_NVIC_EnableIRQ(DMA2_Stream3_IRQn);
    /* DMA2_Stream4_IRQn interrupt configuration */
    HAL_NVIC_SetPriority(DMA2_Stream4_IRQn, 0, 0);
    HAL_NVIC_EnableIRQ(DMA2_Stream4_IRQn);
}

static void MX_GPIO_Init(void)
{
    GPIO_InitTypeDef GPIO_InitStruct = {0};

    /* GPIO Ports Clock Enable */
    __HAL_RCC_GPIOC_CLK_ENABLE();
    __HAL_RCC_GPIOH_CLK_ENABLE();
    __HAL_RCC_GPIOA_CLK_ENABLE();
    __HAL_RCC_GPIOB_CLK_ENABLE();
    __HAL_RCC_GPIOE_CLK_ENABLE();
    __HAL_RCC_GPIOD_CLK_ENABLE();

    /*Configure GPIO pin Output Level */
    HAL_GPIO_WritePin(FLASH_CS_GPIO_Port, FLASH_CS_Pin, GPIO_PIN_RESET);

    /*Configure GPIO pin Output Level */
    HAL_GPIO_WritePin(IMU_CS_GPIO_Port, IMU_CS_Pin, GPIO_PIN_RESET);

    /*Configure GPIO pin Output Level */
    HAL_GPIO_WritePin(STATUS_LED_GPIO_Port, STATUS_LED_Pin, GPIO_PIN_RESET);

    /*Configure GPIO pin : FLASH_CS_Pin */
    GPIO_InitStruct.Pin = FLASH_CS_Pin;
    GPIO_InitStruct.Mode = GPIO_MODE_OUTPUT_PP;
    GPIO_InitStruct.Pull = GPIO_NOPULL;
    GPIO_InitStruct.Speed = GPIO_SPEED_FREQ_LOW;
    HAL_GPIO_Init(FLASH_CS_GPIO_Port, &GPIO_InitStruct);

    /*Configure GPIO pin : IMU_CS_Pin */
    GPIO_InitStruct.Pin = IMU_CS_Pin;
    GPIO_InitStruct.Mode = GPIO_MODE_OUTPUT_PP;
    GPIO_InitStruct.Pull = GPIO_NOPULL;
    GPIO_InitStruct.Speed = GPIO_SPEED_FREQ_LOW;
    HAL_GPIO_Init(IMU_CS_GPIO_Port, &GPIO_InitStruct);

    /*Configure GPIO pin : IMU_INT_1_Pin */
    GPIO_InitStruct.Pin = IMU_INT_1_Pin;
    GPIO_InitStruct.Mode = GPIO_MODE_IT_FALLING;
    GPIO_InitStruct.Pull = GPIO_NOPULL;
    HAL_GPIO_Init(IMU_INT_1_GPIO_Port, &GPIO_InitStruct);

    /*Configure GPIO pin : IMU_INT_2_Pin */
    GPIO_InitStruct.Pin = IMU_INT_2_Pin;
    GPIO_InitStruct.Mode = GPIO_MODE_IT_RISING;
    GPIO_InitStruct.Pull = GPIO_NOPULL;
    HAL_GPIO_Init(IMU_INT_2_GPIO_Port, &GPIO_InitStruct);

    /*Configure GPIO pin : SDIO_DET_Pin */
    GPIO_InitStruct.Pin = SDIO_DET_Pin;
    GPIO_InitStruct.Mode = GPIO_MODE_INPUT;
    GPIO_InitStruct.Pull = GPIO_NOPULL;
    HAL_GPIO_Init(SDIO_DET_GPIO_Port, &GPIO_InitStruct);

    /*Configure GPIO pin : STATUS_LED_Pin */
    GPIO_InitStruct.Pin = STATUS_LED_Pin;
    GPIO_InitStruct.Mode = GPIO_MODE_OUTPUT_PP;
    GPIO_InitStruct.Pull = GPIO_NOPULL;
    GPIO_InitStruct.Speed = GPIO_SPEED_FREQ_LOW;
    HAL_GPIO_Init(STATUS_LED_GPIO_Port, &GPIO_InitStruct);

    /* EXTI interrupt init*/
    HAL_NVIC_SetPriority(EXTI9_5_IRQn, 0, 0);
    HAL_NVIC_EnableIRQ(EXTI9_5_IRQn);

}

/* USER CODE BEGIN 4 */
void HAL_GPIO_EXTI_Callback(uint16_t GPIO_Pin)
{
    if (GPIO_Pin == IMU_INT_1_Pin)
    {
        ISM330DHCXReadRaw(&ISM330DHCX_Handler);
    }
}

void HAL_SPI_TxRxCpltCallback(SPI_HandleTypeDef *hspi)
{
    if (hspi->Instance == SPI1)
    {

        HAL_GPIO_WritePin(ISM330DHCX_Handler.CSPort, ISM330DHCX_Handler.CSPin, GPIO_PIN_SET);
        ISM330DHCXRawToData(&ISM330DHCX_Handler);
    }
}

void HAL_TIM_PeriodElapsedCallback(TIM_HandleTypeDef *htim)
{
    if (htim->Instance == TIM5)
    {
        BMP280ReadRaw(&BMP280_Handler);
    }
}

void HAL_I2C_MemRxCpltCallback(I2C_HandleTypeDef *hi2c)
{
    if (hi2c->Instance == I2C1)
    {
        if (I2CdmaState == STATE_READING_BMP)
        {
            // BMP finished! Now start LIS2MDL immediately
            ADCReadRaw(&ADC_Handler);
            LIS2MDLReadRaw(&LIS2MDL_Handler);
            I2CdmaState = STATE_READING_LIS;

            BMP280RawToData(&BMP280_Handler);
        }
        else if (I2CdmaState == STATE_READING_LIS)
        {
            // LIS finished! The sequencing chain is done.
            I2CdmaState = STATE_READING_BMP;

            LIS2MDLRawToData(&LIS2MDL_Handler);

            estimationFlag = 1;
        }
    }
}

void HAL_UART_RxCpltCallback(UART_HandleTypeDef *huart)
{
    if (huart->Instance == USART2)
    {
        if (NEO6M_Handler.tempByte == '$')
        {
            /* FOUND IT! Sync detected. */

            // 1. Manually place '$' at the start of the buffer
            NEO6M_Handler.rawBuffer[0] = '$';

            // 2. Switch to DMA immediately to catch the rest of the sentence.
            // Notice: We point to &rawbuffer[1] because index 0 is already filled.
            // We reduce size by 1.
            HAL_UARTEx_ReceiveToIdle_DMA(NEO6M_Handler.huart, &NEO6M_Handler.rawBuffer[1], 511);
        }
        else
        {
            /* Garbage data (noise or middle of sentence). Keep Hunting. */
            HAL_UART_Receive_IT(NEO6M_Handler.huart, &NEO6M_Handler.tempByte, 1);
        }
    }
}

void HAL_UARTEx_RxEventCallback(UART_HandleTypeDef *huart, uint16_t Size)
{
    if (huart->Instance == USART2)
    {
        /* DMA has stopped receiving. We now have a full batch. */

        // The 'Size' argument is how many bytes DMA transferred.
        // Since we manually added '$' at index 0, total length is Size + 1.
        uint16_t TotalLen = Size + 1;

        // 1. Null terminate for safety
        NEO6M_Handler.rawBuffer[TotalLen] = '\0';

        // 2. Process the Clean Data

        NEO6MRawToData(&NEO6M_Handler);

        //        sprintf(output, "%s", NEO6M_Handler.rawBuffer);
        //        debugging(output);
        //
        //        sprintf(output, "Time: %d:%d:%d | Lat: %.6f | Lon: %.6f | altitude: %.2f | Sats: %d\r\n",
        //                NEO6M_Handler.Hour, // String (%s)
        //                NEO6M_Handler.Min,
        //                NEO6M_Handler.Sec,
        //                NEO6M_Handler.Latitude,      // Float with 6 decimals (%.6f)
        //                NEO6M_Handler.Longitude,     // Float with 6 decimals (%.6f)
        //                NEO6M_Handler.Altitude,      // Float with 2 decimals (%.2f)
        //                NEO6M_Handler.SatellitesUsed // Integer (%d)
        //        );
        //
        //        debugging(output);

        // 3. Reset logic: Go back to "Hunting" for the next '$'
        // We do NOT restart DMA here. We restart the single-byte Interrupt.
        HAL_UART_Receive_IT(NEO6M_Handler.huart, &NEO6M_Handler.tempByte, 1);
    }
}

void HAL_ADC_ConvCpltCallback(ADC_HandleTypeDef *hadc)
{
    if (hadc->Instance == ADC1)
    {
        ADCRawToData(&ADC_Handler);
    }
}
/* USER CODE END 4 */

void Error_Handler(void)
{
    __disable_irq();
    while (1)
    {
    }
}
